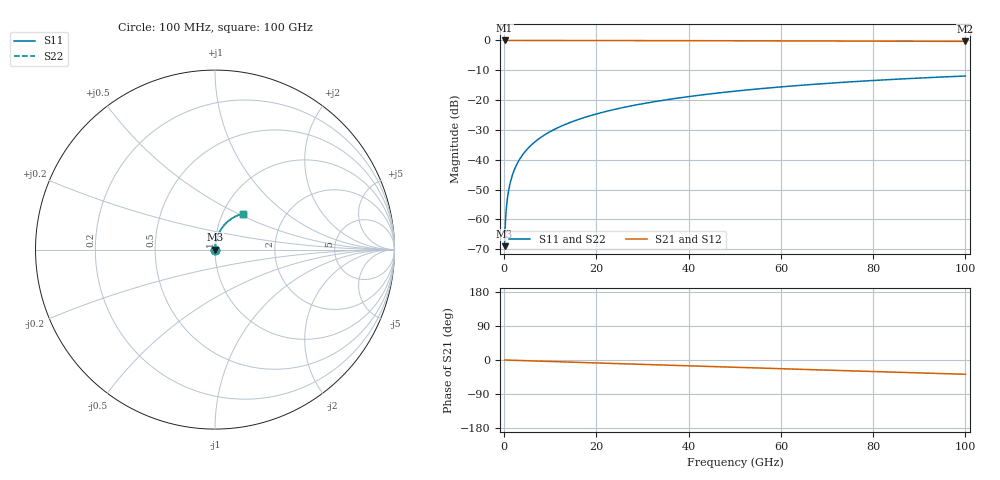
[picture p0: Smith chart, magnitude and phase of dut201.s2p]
! Touchstone file exported from HFSS 2026.1.0
!  File:  C:/ffzhzh/LocalFiles/Ansys_Project_Files/temp_train_TSV_201_1783507474_41296.aedt
!  Generated:  06:45:50 PM Jul  8, 2026
!  Design:  TSV
!  Project:  temp_train_TSV_201_1783507474_41296
! Variables:
!  h_bsmrdl = 2um
!  h_ox = 20um
!  h_rdl = 5um
!  h_sub = 62um
!  h_tmrdl = 5um
!  h_tsv = 62um
!  h_via = 3um
!  l_bsmrdl = 300um
!  l_sub = 416.34um
!  l_tmrdl = 200um
!  m_sub = 200um
!  pitch = 59.86um
!  r_tsv = 8.17um
!  s_tmrdl = 10um
!  w_bsmrdl = 18um
!  w_sub = 500um
!  w_tmrdl = 12um
!  x_tsv_center1 = 206um
!  x_tsv_center2 = 524um
!  x_tsv_center3 = 736um
!  x_tsv_center4 = 1054um
!  x_tsv_center5 = 1266um
!  x_tsv_center6 = 1584um
# GHz S MA R 50.000000
! Terminal data exported
! Port[1] = TSV1_1_T1
! Port[2] = TSV1_1_T2
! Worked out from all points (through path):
!   1000 points, 100 MHz to 100 GHz, reference 50 ohm
!   highest |S21| = 0.00 dB at 100 MHz (marker M1); lowest = -0.3 dB at 100 GHz (marker M2)
!   group delay of S21, straight-line fit = 1.05 ps
!   lowest |S11| = -69.0 dB at 100 MHz (marker M3), VSWR 1.00, Z = 50 + j0.0328 ohm
!   |S11| at or under -10 dB: start of sweep to end of sweep
!   |S22| runs from -69.0 to -11.9 dB; largest |S21 - S12| = 2.6e-15
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0.1  0.0003566 66.9  0.9999 -0.0  0.9999 -0.0  0.0003566 66.9
! Gamma 0 0 0 0
! Port Impedance 50 0 50 0
0.3  0.0009864 80.4  0.9998 -0.1  0.9998 -0.1  0.0009864 80.4
0.7  0.002227 84.1  0.9998 -0.3  0.9998 -0.3  0.002227 84.1
0.8  0.002533 84.5  0.9998 -0.3  0.9998 -0.3  0.002533 84.5
1  0.003143 85.0  0.9997 -0.4  0.9997 -0.4  0.003143 85.0
1.3  0.004054 85.5  0.9997 -0.5  0.9997 -0.5  0.004054 85.5
1.7  0.005262 85.8  0.9997 -0.7  0.9997 -0.7  0.005262 85.8
2.3  0.007061 86.0  0.9996 -0.9  0.9996 -0.9  0.007061 86.0
2.9  0.008846 86.0  0.9995 -1.1  0.9995 -1.1  0.008846 86.0
3.7  0.01121 86.0  0.9994 -1.5  0.9994 -1.5  0.01121 86.0
4.7  0.01416 85.9  0.9993 -1.8  0.9993 -1.8  0.01416 85.9
5.8  0.0174 85.7  0.9992 -2.3  0.9992 -2.3  0.0174 85.7
8.7  0.02591 84.9  0.9989 -3.4  0.9989 -3.4  0.02591 84.9
12.3  0.0364 83.8  0.9984 -4.8  0.9984 -4.8  0.0364 83.8
16.8  0.04943 82.2  0.9977 -6.5  0.9977 -6.5  0.04943 82.2
24.2  0.07062 79.6  0.9962 -9.4  0.9962 -9.4  0.07062 79.6
33.4  0.09646 76.2  0.9938 -12.9  0.9938 -12.9  0.09646 76.2
41.2  0.1178 73.3  0.9914 -15.9  0.9914 -15.9  0.1178 73.3
50.1  0.1414 70.0  0.9881 -19.3  0.9881 -19.3  0.1414 70.0
66.7  0.1829 63.9  0.9811 -25.5  0.9811 -25.5  0.1829 63.9
83.4  0.2207 57.8  0.973 -31.7  0.973 -31.7  0.2207 57.8
100  0.2536 51.8  0.9647 -37.7  0.9647 -37.7  0.2536 51.8
